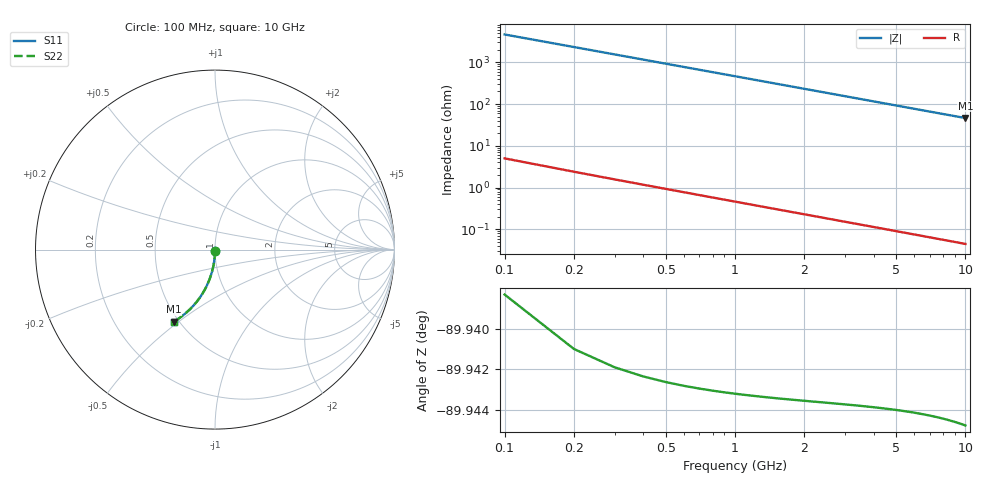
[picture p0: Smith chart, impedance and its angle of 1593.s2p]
# Hz S RI R 50.00
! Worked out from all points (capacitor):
!   100 points, 100 MHz to 10 GHz, reference 50 ohm
!   read as one part in shunt: C = 343 fF near 100 MHz
!   lowest |Z| = 46.2 ohm at 10 GHz (marker M1)
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1e8  5.68e-06 -0.0052  0.9999 -0.00557  0.9999 -0.00557  5.68e-06 -0.0052
2e8  -8.63e-05 -0.0104  0.9998 -0.0111  0.9998 -0.0111  -8.63e-05 -0.0104
3e8  -0.000236 -0.0156  0.9997 -0.0167  0.9997 -0.0167  -0.000236 -0.0156
4e8  -0.000444 -0.0208  0.9995 -0.0223  0.9995 -0.0223  -0.000444 -0.0208
5e8  -0.00071 -0.026  0.9992 -0.0278  0.9992 -0.0278  -0.00071 -0.026
6e8  -0.00103 -0.0312  0.9989 -0.0334  0.9989 -0.0334  -0.00103 -0.0312
7e8  -0.00141 -0.0364  0.9985 -0.039  0.9985 -0.039  -0.00141 -0.0364
8e8  -0.00185 -0.0415  0.9981 -0.0445  0.9981 -0.0445  -0.00185 -0.0415
9e8  -0.00235 -0.0467  0.9976 -0.05  0.9976 -0.05  -0.00235 -0.0467
1.1e9  -0.00352 -0.057  0.9964 -0.0611  0.9964 -0.0611  -0.00352 -0.057
1.4e9  -0.00569 -0.0725  0.9942 -0.0776  0.9942 -0.0776  -0.00569 -0.0725
1.8e9  -0.00938 -0.0928  0.9905 -0.0995  0.9905 -0.0995  -0.00938 -0.0928
2.1e9  -0.0127 -0.108  0.9872 -0.1158  0.9872 -0.1158  -0.0127 -0.108
2.5e9  -0.018 -0.1279  0.9819 -0.1372  0.9819 -0.1372  -0.018 -0.1279
2.9e9  -0.024 -0.1475  0.9758 -0.1583  0.9758 -0.1583  -0.024 -0.1475
3.4e9  -0.0328 -0.1715  0.967 -0.1841  0.967 -0.1841  -0.0328 -0.1715
4.2e9  -0.0493 -0.2083  0.9505 -0.224  0.9505 -0.224  -0.0493 -0.2083
5.1e9  -0.0711 -0.2473  0.9286 -0.2663  0.9286 -0.2663  -0.0711 -0.2473
5.9e9  -0.0932 -0.2793  0.9065 -0.3015  0.9065 -0.3015  -0.0932 -0.2793
6.7e9  -0.1172 -0.3088  0.8824 -0.334  0.8824 -0.334  -0.1172 -0.3088
8.4e9  -0.1733 -0.3624  0.8261 -0.3942  0.8261 -0.3942  -0.1733 -0.3624
1e10  -0.2298 -0.4014  0.7694 -0.4395  0.7694 -0.4395  -0.2298 -0.4014
